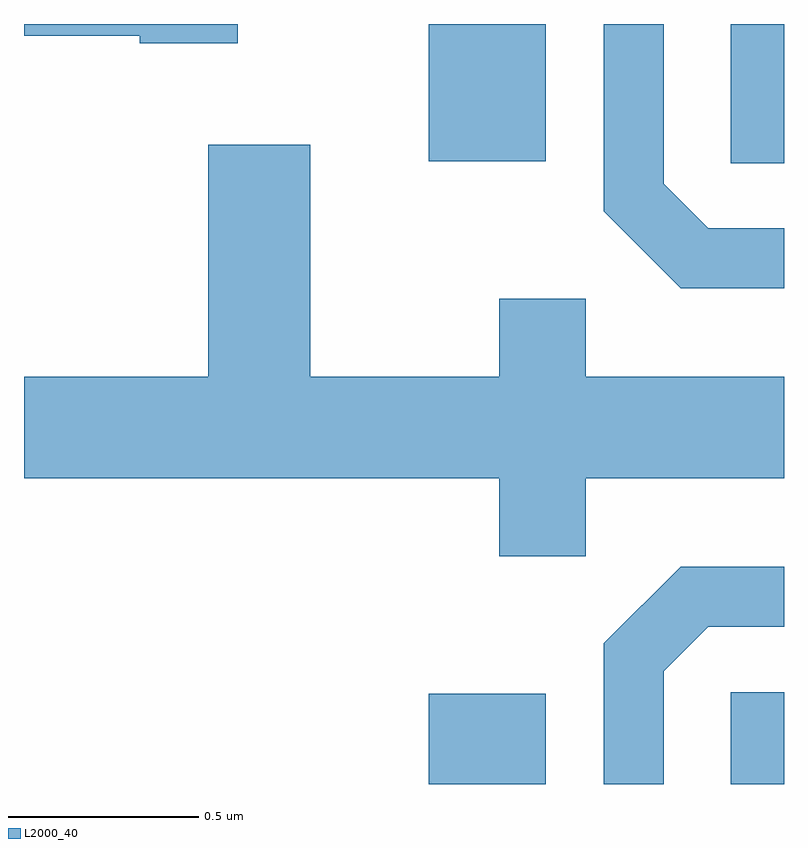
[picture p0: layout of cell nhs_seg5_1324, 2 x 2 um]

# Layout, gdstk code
import gdstk
lib = gdstk.Library(unit=1e-6, precision=1e-09)
def R(c, l, rs):  # rectangles x0, y0, x1, y1
    for r in rs: c.add(gdstk.rectangle(r[:2], r[2:], *l))
def P(c, l, *ps):  # polygons
    for p in ps: c.add(gdstk.Polygon(p, *l))
L2000_40 = (2000, 40)

nhs_seg5_1324 = lib.new_cell('nhs_seg5_1324')
R(nhs_seg5_1324, L2000_40, [(195.676,1487.072,195.984,1487.309), (196.471,1487.072,196.611,1487.314), (196.471,1488.706,196.611,1489.072), (195.676,1488.711,195.984,1489.072)])
P(nhs_seg5_1324, L2000_40, [(196.611,1488.534),(196.412,1488.534),(196.294,1488.652),(196.294,1489.072),(196.136,1489.072),(196.136,1488.579),(196.339,1488.376),(196.611,1488.376)],
  [(195.174,1489.072),(194.611,1489.072),(194.611,1489.041),(194.916,1489.041),(194.916,1489.021),(195.174,1489.021)],
  [(196.089,1487.876),(196.611,1487.876),(196.611,1488.144),(196.089,1488.144),(196.089,1488.349),(195.861,1488.349),(195.861,1488.144),(195.364,1488.144),(195.364,1488.754),(195.096,1488.754),(195.096,1488.144),(194.611,1488.144),(194.611,1487.876),(195.861,1487.876),(195.861,1487.671),(196.089,1487.671)],
  [(196.294,1487.369),(196.412,1487.486),(196.611,1487.486),(196.611,1487.644),(196.339,1487.644),(196.136,1487.442),(196.136,1487.072),(196.294,1487.072)])

lib.write_gds('nhs_seg5_1324.gds')
